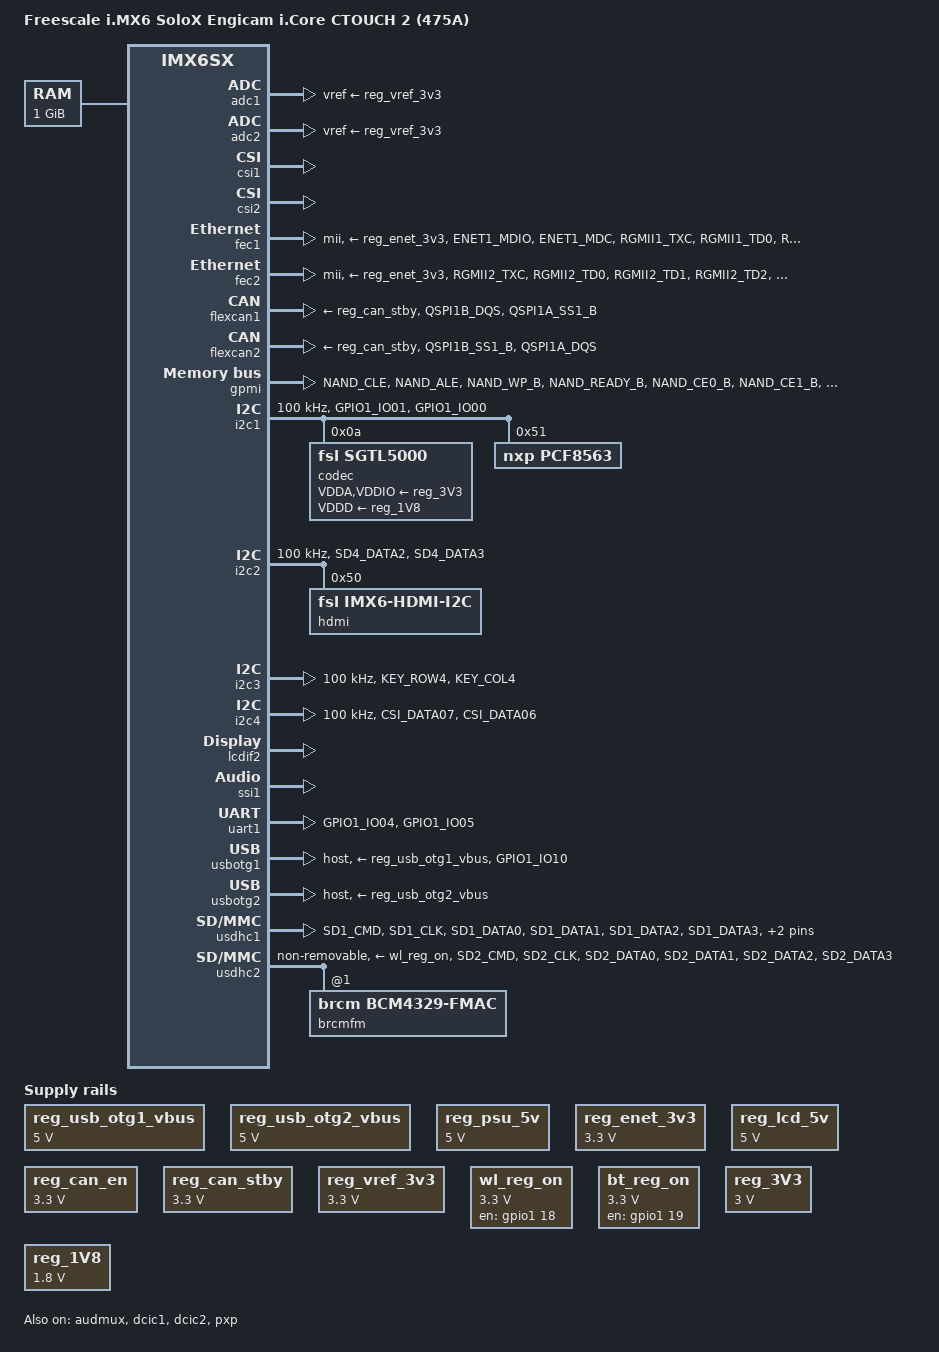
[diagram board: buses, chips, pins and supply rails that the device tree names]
// SPDX-License-Identifier: GPL-2.0
//
// Copyright (C) 2014 Freescale Semiconductor, Inc.

/dts-v1/;

#include <dt-bindings/gpio/gpio.h>
#include <dt-bindings/input/input.h>
#include "imx6sx.dtsi"

/ {
	model = "Freescale i.MX6 SoloX Engicam i.Core CTOUCH 2 (475A)";
	compatible = "engi,imx6sx-icore", "fsl,imx6sx";

	chosen {
		stdout-path = &uart1;
	};

	memory@80000000 {
		device_type = "memory";
		reg = <0x80000000 0x40000000>;
	};

	reg_usb_otg1_vbus: regulator-usb-otg1-vbus {
		compatible = "regulator-fixed";
		pinctrl-names = "default";
		regulator-name = "usb_otg1_vbus";
		regulator-min-microvolt = <5000000>;
		regulator-max-microvolt = <5000000>;
		enable-active-high;
	};

	reg_usb_otg2_vbus: regulator-usb-otg2-vbus {
		compatible = "regulator-fixed";
		pinctrl-names = "default";
		regulator-name = "usb_otg2_vbus";
		regulator-min-microvolt = <5000000>;
		regulator-max-microvolt = <5000000>;
		enable-active-high;
	};

	reg_psu_5v: regulator-psu-5v {
		compatible = "regulator-fixed";
		regulator-name = "PSU-5V0";
		regulator-min-microvolt = <5000000>;
		regulator-max-microvolt = <5000000>;
	};

	reg_lcd_3v3: regulator-lcd-3v3 {
		compatible = "regulator-fixed";
		regulator-name = "lcd-3v3";
		gpio = <&gpio3 27 0>;
		enable-active-high;
		status = "disabled";
	};

	reg_enet_3v3: regulator-enet-3v3 {
		compatible = "regulator-fixed";
		pinctrl-names = "default";
		regulator-name = "enet_3v3";
		regulator-min-microvolt = <3300000>;
		regulator-max-microvolt = <3300000>;
		regulator-boot-on;
		regulator-always-on;
	};

	reg_lcd_5v: regulator-lcd-5v {
		compatible = "regulator-fixed";
		regulator-name = "lcd-5v0";
		regulator-min-microvolt = <5000000>;
		regulator-max-microvolt = <5000000>;
	};

	reg_can_en: regulator-can-en {
		compatible = "regulator-fixed";
		regulator-name = "can-en";
		regulator-min-microvolt = <3300000>;
		regulator-max-microvolt = <3300000>;
	};

	reg_can_stby: regulator-can-stby {
		compatible = "regulator-fixed";
		regulator-name = "can-stby";
		regulator-min-microvolt = <3300000>;
		regulator-max-microvolt = <3300000>;
	};

	reg_vref_3v3: regulator-adc-verf {
		compatible = "regulator-fixed";
		regulator-name = "vref-3v3";
		regulator-min-microvolt = <3300000>;
		regulator-max-microvolt = <3300000>;
	};

	wl_reg_on: regulator-wlregon {
		compatible = "regulator-fixed";
		regulator-name = "WL_REG_ON";
		regulator-min-microvolt = <3300000>;
		regulator-max-microvolt = <3300000>;
		gpio = <&gpio1 18 GPIO_ACTIVE_HIGH>;
		startup-delay-us = <100>;
		enable-active-high;
		regulator-always-on;
	};

	bt_reg_on: regulator-btregon {
		compatible = "regulator-fixed";
		regulator-name = "BT_REG_ON";
		regulator-min-microvolt = <3300000>;
		regulator-max-microvolt = <3300000>;
		gpio = <&gpio1 19 GPIO_ACTIVE_HIGH>;
		startup-delay-us = <100>;
		enable-active-high;
		regulator-always-on;
	};

	reg_3V3: 3V3 {
		compatible = "regulator-fixed";
		regulator-name = "+3V3";
		regulator-min-microvolt = <3000000>;
		regulator-max-microvolt = <3000000>;
		regulator-boot-on;
		regulator-always-on;
	};

	reg_1V8: 1V8 {
		compatible = "regulator-fixed";
		regulator-name = "+1V8";
		regulator-min-microvolt = <1800000>;
		regulator-max-microvolt = <1800000>;
		regulator-boot-on;
		regulator-always-on;
	};

	sound {
		compatible = "fsl,imx-audio-sgtl5000";
		model = "imx6q-icore-sgtl5000";
		ssi-controller = <&ssi1>;
		audio-codec = <&codec>;
		audio-routing =
			"LINE_IN", "Line In Jack",
			"Headphone Jack", "HP_OUT";
		mux-int-port = <1>;
		mux-ext-port = <6>;
	};

	pxp_v4l2_out {
		compatible = "fsl,imx6sx-pxp-v4l2", "fsl,imx6sl-pxp-v4l2";
		status = "okay";
	};
};

&adc1 {
	vref-supply = <&reg_vref_3v3>;
	status = "okay";
};

&adc2 {
	vref-supply = <&reg_vref_3v3>;
	status = "okay";
};

&audmux {
	pinctrl-names = "default";
	pinctrl-0 = <&pinctrl_audmux>;
	status = "okay";
};

&csi1 {
	status = "okay";
};

&csi2 {
	status = "okay";
};

&gpc {
	fsl,ldo-bypass = <1>;
};

&dcic1 {
	dcic_id = <0>;
	dcic_mux = "dcic-lcdif1";
	status = "okay";
};

&dcic2 {
	dcic_id = <1>;
	dcic_mux = "dcic-lvds";
	status = "okay";
};

&fec1 {
	pinctrl-names = "default";
	pinctrl-0 = <&pinctrl_enet1>;
	pinctrl-assert-gpios = <&gpio6 19 GPIO_ACTIVE_HIGH>;
	phy-supply = <&reg_enet_3v3>;
	phy-mode = "mii";
	status = "okay";
};

&fec2 {
	pinctrl-names = "default";
	pinctrl-0 = <&pinctrl_enet2>;
	pinctrl-assert-gpios = <&gpio6 20 GPIO_ACTIVE_HIGH>;
	phy-supply = <&reg_enet_3v3>;
	phy-mode = "mii";
	status = "okay";
};

&flexcan1 {
	pinctrl-names = "default";
	pinctrl-0 = <&pinctrl_flexcan1>;
	xceiver-supply = <&reg_can_stby>;
	status = "okay";
};

&flexcan2 {
	pinctrl-names = "default";
	pinctrl-0 = <&pinctrl_flexcan2>;
	xceiver-supply = <&reg_can_stby>;
	status = "okay";
};

&gpc {
	fsl,ldo-bypass = <1>;
};

&gpmi {
	pinctrl-names = "default";
	pinctrl-0 = <&pinctrl_gpmi>;
	fsl,use-minimum-ecc;
	nand-on-flash-bbt;
	status = "ok";
};

&i2c1 {
	clock-frequency = <100000>;
	pinctrl-names = "default";
	pinctrl-0 = <&pinctrl_i2c1>;
	status = "okay";

	codec: sgtl5000@a {
		compatible = "fsl,sgtl5000";
		reg = <0x0a>;
		clocks = <&clks IMX6SX_CLK_AUDIO>;
		VDDA-supply = <&reg_3V3>;
		VDDIO-supply = <&reg_3V3>;
		VDDD-supply = <&reg_1V8>;
	};

	pcf8563: rtc@51 {
		compatible = "nxp,pcf8563";
		reg = <0x51>;
	};
};

&i2c2 {
	clock-frequency = <100000>;
	pinctrl-names = "default";
	pinctrl-0 = <&pinctrl_i2c2>;
	status = "okay";

	hdmi: edid@50 {
		compatible = "fsl,imx6-hdmi-i2c";
		reg = <0x50>;
	};
};


&i2c3 {
	clock-frequency = <100000>;
	pinctrl-names = "default";
	pinctrl-0 = <&pinctrl_i2c3>;
	status = "okay";
};

&i2c4 {
	clock-frequency = <100000>;
	pinctrl-names = "default";
	pinctrl-0 = <&pinctrl_i2c4>;
	status = "okay";
};

&lcdif2 {
	display = <&display1>;
	disp-dev = "ldb";
	status = "okay";
	display1: display@1 {
		bits-per-pixel = <16>;
		bus-width = <18>;
	};
};

&pxp {
	status = "okay";
};

&snvs_poweroff {
	status = "okay";
};

&sai1 {
	pinctrl-names = "default";
	pinctrl-0 = <&pinctrl_sai1>;
	status = "disabled";
};

&ssi1 {
	status = "okay";
};

/* Linux console */
&uart1 {
	pinctrl-names = "default";
	pinctrl-0 = <&pinctrl_uart1>;
	status = "okay";
};

&usbotg1 {
	pinctrl-names = "default";
	pinctrl-0 = <&pinctrl_usbotg1>;
	vbus-supply = <&reg_usb_otg1_vbus>;
	dr_mode = "host";
	status = "okay";
};

&usbotg2 {
	vbus-supply = <&reg_usb_otg2_vbus>;
	dr_mode = "host";
	status = "okay";
};

&usbphy1 {
	fsl,tx-d-cal = <106>;
};

&usbphy2 {
	fsl,tx-d-cal = <106>;
};

/* SD Card */
&usdhc1 {
	pinctrl-names = "default";
	pinctrl-0 = <&pinctrl_usdhc1>;
	cd-gpios = <&gpio1 2 GPIO_ACTIVE_LOW>;
	no-1-8-v;
	status = "okay";
};

/* Wifi */
&usdhc2 {
	#address-cells = <1>;
	#size-cells = <0>;
	pinctrl-names = "default";
	pinctrl-0 = <&pinctrl_usdhc2>;
	no-1-8-v;
	pm-ignore-notify;
	keep-power-in-suspend;
	non-removable;
	vmmc-supply = <&wl_reg_on>;
	status = "ok";

	brcmfm: brcmfm@1 {
		reg = <1>;
		compatible = "brcm,bcm4329-fmac";
	};
};

&iomuxc {
	imx6x-icore {
		pinctrl-names = "default";
		pinctrl-0 = <&pinctrl_hog &pinctrl_can_gpios>;

		pinctrl_hog: hoggrp {
			fsl,pins = <
				MX6SX_PAD_CSI_DATA04__GPIO1_IO_18 0x17059 /* WL_REG_ON */
				MX6SX_PAD_CSI_DATA05__GPIO1_IO_19 0x17059 /* BT_REG_ON */
			>;
		};

		pinctrl_can_gpios: can-gpios {
			fsl,pins = <
				MX6SX_PAD_QSPI1B_DATA1__GPIO4_IO_25 0x17059
				MX6SX_PAD_QSPI1B_DATA3__GPIO4_IO_27 0x17059
			>;
		};

		pinctrl_audmux: audmuxgrp {
			fsl,pins = <
				MX6SX_PAD_SD4_RESET_B__AUDMUX_MCLK	0x130b0
				MX6SX_PAD_SD3_DATA1__AUDMUX_AUD6_TXC 	0x130b0
				MX6SX_PAD_SD3_DATA3__AUDMUX_AUD6_TXD    0x130b0
				MX6SX_PAD_SD3_DATA2__AUDMUX_AUD6_TXFS 	0x130b0
				MX6SX_PAD_SD3_DATA0__AUDMUX_AUD6_RXD  	0x130b0
			>;
		};

		pinctrl_enet1: enet1grp {
			fsl,pins = <
				MX6SX_PAD_ENET1_MDIO__ENET1_MDIO	0xb0e9
				MX6SX_PAD_ENET1_MDC__ENET1_MDC		0xb0e9
				MX6SX_PAD_RGMII1_TXC__ENET1_RGMII_TXC	0xb0e9
				MX6SX_PAD_RGMII1_TD0__ENET1_TX_DATA_0	0xb0e9
				MX6SX_PAD_RGMII1_TD1__ENET1_TX_DATA_1	0xb0e9
				MX6SX_PAD_RGMII1_TD2__ENET1_TX_DATA_2	0xb0e9
				MX6SX_PAD_RGMII1_TD3__ENET1_TX_DATA_3	0xb0e9
				MX6SX_PAD_RGMII1_TX_CTL__ENET1_TX_EN	0xb0e9
				MX6SX_PAD_RGMII1_RXC__ENET1_RX_CLK	0x30c1
				MX6SX_PAD_RGMII1_RD0__ENET1_RX_DATA_0	0x30c1
				MX6SX_PAD_RGMII1_RD1__ENET1_RX_DATA_1	0x30c1
				MX6SX_PAD_RGMII1_RD2__ENET1_RX_DATA_2	0x30c1
				MX6SX_PAD_RGMII1_RD3__ENET1_RX_DATA_3	0x30c1
				MX6SX_PAD_RGMII1_RX_CTL__ENET1_RX_EN	0x30c1
				MX6SX_PAD_ENET1_TX_CLK__ENET1_TX_CLK	0xb0e9
				MX6SX_PAD_ENET1_RX_CLK__ENET1_RX_CLK	0xb0e9
				MX6SX_PAD_ENET1_COL__ENET1_COL		0xb0e9
				MX6SX_PAD_ENET1_CRS__ENET1_CRS		0xb0e9
				MX6SX_PAD_GPIO1_IO03__ENET1_REF_CLK_25M	0x10
				/* phy reset */
				MX6SX_PAD_SD4_DATA5__GPIO6_IO_19	0x17059
			>;
		};

		pinctrl_enet2: enet2grp {
			fsl,pins = <
				MX6SX_PAD_RGMII2_TXC__ENET2_RGMII_TXC	0xb0e9
				MX6SX_PAD_RGMII2_TD0__ENET2_TX_DATA_0	0xb0e9
				MX6SX_PAD_RGMII2_TD1__ENET2_TX_DATA_1	0xb0e9
				MX6SX_PAD_RGMII2_TD2__ENET2_TX_DATA_2	0xb0e9
				MX6SX_PAD_RGMII2_TD3__ENET2_TX_DATA_3	0xb0e9
				MX6SX_PAD_RGMII2_TX_CTL__ENET2_TX_EN	0xb0e9
				MX6SX_PAD_RGMII2_RXC__ENET2_RX_CLK	0x30c1
				MX6SX_PAD_RGMII2_RD0__ENET2_RX_DATA_0	0x30c1
				MX6SX_PAD_RGMII2_RD1__ENET2_RX_DATA_1	0x30c1
				MX6SX_PAD_RGMII2_RD2__ENET2_RX_DATA_2	0x30c1
				MX6SX_PAD_RGMII2_RD3__ENET2_RX_DATA_3	0x30c1
				MX6SX_PAD_RGMII2_RX_CTL__ENET2_RX_EN	0x30c1
				MX6SX_PAD_ENET2_TX_CLK__ENET2_TX_CLK	0xb0e9
				MX6SX_PAD_ENET2_RX_CLK__ENET2_RX_CLK	0xb0e9
				MX6SX_PAD_ENET2_COL__ENET2_COL		0xb0e9
				MX6SX_PAD_ENET2_CRS__ENET2_CRS		0xb0e9
				/* phy reset */
				MX6SX_PAD_SD4_DATA6__GPIO6_IO_20	0x17059
			>;
		};

		pinctrl_flexcan1: flexcan1grp {
			fsl,pins = <
				MX6SX_PAD_QSPI1B_DQS__CAN1_TX		0x1b020
				MX6SX_PAD_QSPI1A_SS1_B__CAN1_RX		0x1b020
			>;
		};

		pinctrl_flexcan2: flexcan2grp {
			fsl,pins = <
				MX6SX_PAD_QSPI1B_SS1_B__CAN2_RX		0x1b020
				MX6SX_PAD_QSPI1A_DQS__CAN2_TX		0x1b020
			>;
		};

		pinctrl_gpmi: gpmigrp {
			fsl,pins = <
				MX6SX_PAD_NAND_CLE__RAWNAND_CLE         0xb0b1
				MX6SX_PAD_NAND_ALE__RAWNAND_ALE         0xb0b1
				MX6SX_PAD_NAND_WP_B__RAWNAND_WP_B       0xb0b1
				MX6SX_PAD_NAND_READY_B__RAWNAND_READY_B 0xb000
				MX6SX_PAD_NAND_CE0_B__RAWNAND_CE0_B     0xb0b1
				MX6SX_PAD_NAND_CE1_B__RAWNAND_CE1_B     0xb0b1
				MX6SX_PAD_NAND_RE_B__RAWNAND_RE_B       0xb0b1
				MX6SX_PAD_NAND_WE_B__RAWNAND_WE_B       0xb0b1
				MX6SX_PAD_NAND_DATA00__RAWNAND_DATA00   0xb0b1
				MX6SX_PAD_NAND_DATA01__RAWNAND_DATA01   0xb0b1
				MX6SX_PAD_NAND_DATA02__RAWNAND_DATA02   0xb0b1
				MX6SX_PAD_NAND_DATA03__RAWNAND_DATA03   0xb0b1
				MX6SX_PAD_NAND_DATA04__RAWNAND_DATA04   0xb0b1
				MX6SX_PAD_NAND_DATA05__RAWNAND_DATA05   0xb0b1
				MX6SX_PAD_NAND_DATA06__RAWNAND_DATA06   0xb0b1
				MX6SX_PAD_NAND_DATA07__RAWNAND_DATA07   0xb0b1
			>;
		};

		pinctrl_i2c1: i2c1grp {
			fsl,pins = <
				MX6SX_PAD_GPIO1_IO01__I2C1_SDA		0x4001b8b1
				MX6SX_PAD_GPIO1_IO00__I2C1_SCL		0x4001b8b1
			>;
		};

		pinctrl_i2c2: i2c2grp {
			fsl,pins = <
				MX6SX_PAD_SD4_DATA2__I2C2_SDA		0x4001b8b1
				MX6SX_PAD_SD4_DATA3__I2C2_SCL		0x4001b8b1
			>;
		};

		pinctrl_i2c3: i2c3grp {
			fsl,pins = <
				MX6SX_PAD_KEY_ROW4__I2C3_SDA		0x4001b8b1
				MX6SX_PAD_KEY_COL4__I2C3_SCL		0x4001b8b1
			>;
		};

		pinctrl_i2c4: i2c4grp {
			fsl,pins = <
				MX6SX_PAD_CSI_DATA07__I2C4_SDA		0x4001b8b1
				MX6SX_PAD_CSI_DATA06__I2C4_SCL		0x4001b8b1
			>;
		};

		pinctrl_mqs: mqsgrp {
			fsl,pins = <
				MX6SX_PAD_SD2_CLK__MQS_RIGHT 0x120b0
				MX6SX_PAD_SD2_CMD__MQS_LEFT  0x120b0
			>;
		};

		pinctrl_sai1: sai1grp {
			fsl,pins = <
				MX6SX_PAD_CSI_DATA00__SAI1_TX_BCLK	0x130b0
				MX6SX_PAD_CSI_DATA01__SAI1_TX_SYNC	0x130b0
				MX6SX_PAD_CSI_HSYNC__SAI1_TX_DATA_0	0x120b0
				MX6SX_PAD_CSI_VSYNC__SAI1_RX_DATA_0	0x130b0
				MX6SX_PAD_CSI_PIXCLK__AUDMUX_MCLK	0x130b0
			>;
		};

		pinctrl_uart1: uart1grp {
			fsl,pins = <
				MX6SX_PAD_GPIO1_IO04__UART1_DCE_TX	0x1b0b1
				MX6SX_PAD_GPIO1_IO05__UART1_DCE_RX	0x1b0b1
			>;
		};

		pinctrl_usbotg1: usbotg1grp {
			fsl,pins = <
				MX6SX_PAD_GPIO1_IO10__ANATOP_OTG1_ID	0x17059
			>;
		};

		pinctrl_usdhc1: usdhc1grp {
			fsl,pins = <
				MX6SX_PAD_SD1_CMD__USDHC1_CMD		0x17059
				MX6SX_PAD_SD1_CLK__USDHC1_CLK		0x10059
				MX6SX_PAD_SD1_DATA0__USDHC1_DATA0	0x17059
				MX6SX_PAD_SD1_DATA1__USDHC1_DATA1	0x17059
				MX6SX_PAD_SD1_DATA2__USDHC1_DATA2	0x17059
				MX6SX_PAD_SD1_DATA3__USDHC1_DATA3	0x17059
				MX6SX_PAD_GPIO1_IO02__USDHC1_CD_B	0x1b0b1
			>;
		};

		pinctrl_usdhc2: usdhc2grp {
			fsl,pins = <
				MX6SX_PAD_SD2_CMD__USDHC2_CMD		0x17059
				MX6SX_PAD_SD2_CLK__USDHC2_CLK		0x10059
				MX6SX_PAD_SD2_DATA0__USDHC2_DATA0	0x17059
				MX6SX_PAD_SD2_DATA1__USDHC2_DATA1	0x17059
				MX6SX_PAD_SD2_DATA2__USDHC2_DATA2	0x17059
				MX6SX_PAD_SD2_DATA3__USDHC2_DATA3	0x17059
			>;
		};

		pinctrl_wdog: wdoggrp {
			fsl,pins = <
				MX6SX_PAD_GPIO1_IO13__WDOG1_WDOG_ANY 0x30b0
			>;
		};
	};
};
